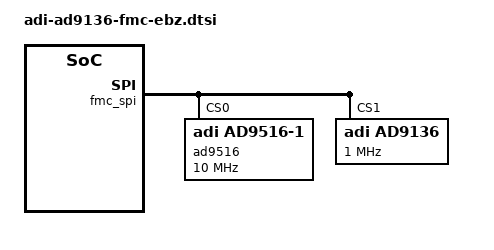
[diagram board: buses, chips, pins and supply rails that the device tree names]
/ {
	clocks {
		ad9516_clkin: clock@0 {
			compatible = "fixed-clock";

			clock-frequency = <1400000000>;
			clock-output-names = "ad9516-extclk";
			#clock-cells = <0>;
		};
	};
};

&fmc_spi {
	ad9516: clockchip@0 {
		compatible = "adi,ad9516-1";
		reg = <0>;

		spi-max-frequency = <10000000>;

		clocks = <&ad9516_clkin>;
		clock-names = "clkin";
		clock-output-names = "ad9516-out0", "ad9516-out1", "ad9516-out2",
			"ad9516-out3", "ad9516-out4", "ad9516-out5", "ad9516-out6",
			"ad9516-out7", "ad9516-out8", "ad9516-out9";
		#clock-cells = <1>;

		/* DAC clock, DAC SYSREF, FPGA clock, FPGA SYSREF */
		assigned-clocks = <&ad9516 1>, <&ad9516 6>, <&ad9516 9>, <&ad9516 7>;
		assigned-clock-rates = <1400000000>, <683594>, <87500000>, <683594>;
	};

	ad9136: dac@1 {
		compatible = "adi,ad9136";
		reg = <1>;
		adi,spi-4wire-enable;

		spi-max-frequency = <1000000>;

		clocks = <&jesd204_link>, <&ad9516 1>, <&ad9516 6>;
		clock-names = "jesd_dac_clk", "dac_clk", "dac_sysref";
	};
};
